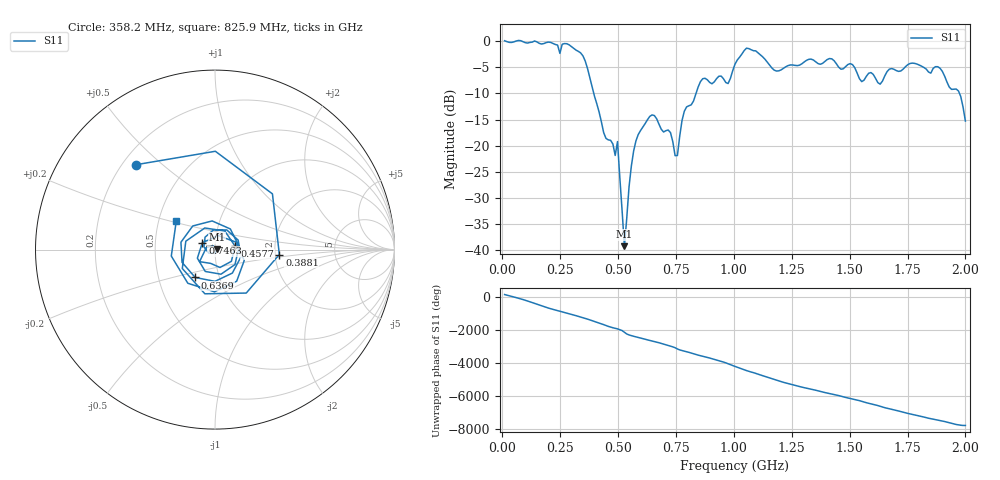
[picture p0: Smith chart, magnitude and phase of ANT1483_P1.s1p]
!Created with skrf (http://scikit-rf.org).
# Hz S RI R 50.0
!freq ReS11 ImS11
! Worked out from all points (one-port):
!   201 points, 10 MHz to 2 GHz, reference 50 ohm
!   lowest |S11| = -39.3 dB at 527.4 MHz (marker M1), VSWR 1.02, Z = 51.1 + j0.26 ohm
!   |S11| at or under -10 dB: 394.9 MHz to 836.8 MHz (441.8 MHz wide, 71.7 % of centre); 1.975 GHz to end of sweep
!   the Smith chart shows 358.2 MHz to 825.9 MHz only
!   S11 on the Smith chart (normalised r, x): 358.2 MHz: 0.25, +0.41; 388.1 MHz: 2.11, -0.13; 457.8 MHz: 1.25, +0.05; 636.9 MHz: 0.77, -0.25; 746.3 MHz: 0.87, +0.07; 825.9 MHz: 0.62, +0.21
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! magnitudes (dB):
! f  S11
! 10 MHz  0.1
! 258.8 MHz  -0.5
! 358.2 MHz  -3.8
! 388.1 MHz  -8.9
! 457.8 MHz  -18.9
! 487.6 MHz  -21.9
! 497.6 MHz  -19.2
! 507.5 MHz  -26.1
! 527.4 MHz  -39.3
! 567.2 MHz  -21.0
! 636.9 MHz  -14.4
! 726.4 MHz  -17.5
! 746.3 MHz  -21.9
! 756.2 MHz  -21.9
! 786.1 MHz  -13.4
! 825.9 MHz  -11.4
! 865.7 MHz  -7.2
! 975.1 MHz  -8.1
! 1.005 GHz  -4.4
! 1.055 GHz  -1.3
! 1.184 GHz  -5.7
! 1.254 GHz  -4.5
! 1.502 GHz  -4.3
! 1.632 GHz  -8.2
! 1.751 GHz  -4.5
! 1.891 GHz  -5.2
! 1.97 GHz  -9.5
! 2 GHz  -15.3
